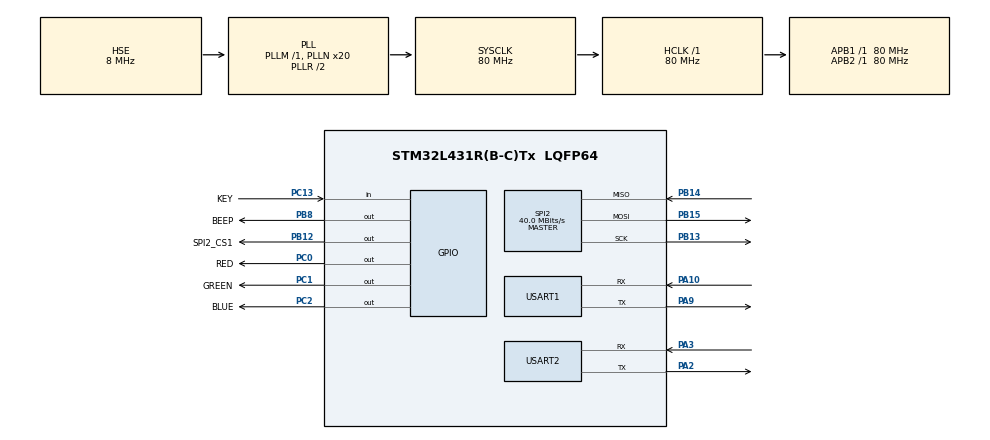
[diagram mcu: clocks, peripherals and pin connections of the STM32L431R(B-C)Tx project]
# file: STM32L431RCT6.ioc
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Mcu.Family=STM32L4
Mcu.Name=STM32L431R(B-C)Tx
Mcu.Package=LQFP64
NVIC.PriorityGroup=NVIC_PRIORITYGROUP_4
PA10.Mode=Asynchronous
PA10.Signal=USART1_RX
PA13\ (JTMS-SWDIO).Mode=Serial_Wire
PA13\ (JTMS-SWDIO).Signal=SYS_JTMS-SWDIO
PA14\ (JTCK-SWCLK).Mode=Serial_Wire
PA14\ (JTCK-SWCLK).Signal=SYS_JTCK-SWCLK
PA2.Mode=Asynchronous
PA2.Signal=USART2_TX
PA3.Mode=Asynchronous
PA3.Signal=USART2_RX
PA9.Mode=Asynchronous
PA9.Signal=USART1_TX
PB12.GPIO_Label=SPI2_CS1
PB12.GPIO_PuPd=GPIO_PULLUP
PB12.GPIO_Speed=GPIO_SPEED_FREQ_VERY_HIGH
PB12.PinState=GPIO_PIN_SET
PB12.Signal=GPIO_Output
PB13.Mode=Full_Duplex_Master
PB13.Signal=SPI2_SCK
PB14.Mode=Full_Duplex_Master
PB14.Signal=SPI2_MISO
PB15.Mode=Full_Duplex_Master
PB15.Signal=SPI2_MOSI
PB8.GPIO_Label=BEEP
PB8.Signal=GPIO_Output
PC0.GPIO_Label=RED
PC0.GPIO_PuPd=GPIO_PULLUP
PC0.PinState=GPIO_PIN_SET
PC0.Signal=GPIO_Output
PC1.GPIO_Label=GREEN
PC1.GPIO_PuPd=GPIO_PULLUP
PC1.PinState=GPIO_PIN_SET
PC1.Signal=GPIO_Output
PC13.GPIO_Label=KEY
PC13.GPIO_Mode=GPIO_MODE_INPUT
PC13.GPIO_PuPd=GPIO_PULLUP
PC13.Signal=GPIO_Input
PC2.GPIO_Label=BLUE
PC2.GPIO_PuPd=GPIO_PULLUP
PC2.PinState=GPIO_PIN_SET
PC2.Signal=GPIO_Output
PH0-OSC_IN\ (PH0).Mode=HSE-External-Oscillator
PH0-OSC_IN\ (PH0).Signal=RCC_OSC_IN
PH1-OSC_OUT\ (PH1).Mode=HSE-External-Oscillator
PH1-OSC_OUT\ (PH1).Signal=RCC_OSC_OUT
ProjectManager.HeapSize=0x200
ProjectManager.StackSize=0x400
ProjectManager.TargetToolchain=MDK-ARM V5.27
RCC.ADCFreq_Value=32000000
RCC.AHBFreq_Value=80000000
RCC.APB1Freq_Value=80000000
RCC.APB1TimFreq_Value=80000000
RCC.APB2Freq_Value=80000000
RCC.APB2TimFreq_Value=80000000
RCC.CortexFreq_Value=80000000
RCC.HCLKFreq_Value=80000000
RCC.HSE_VALUE=8000000
RCC.HSI48_VALUE=48000000
RCC.HSI_VALUE=16000000
RCC.LSE_VALUE=32768
RCC.MSI_VALUE=4000000
RCC.PLLN=20
RCC.PLLSourceVirtual=RCC_PLLSOURCE_HSE
RCC.SYSCLKFreq_VALUE=80000000
RCC.SYSCLKSource=RCC_SYSCLKSOURCE_PLLCLK
RCC.VCOOutputFreq_Value=160000000
SPI2.CalculateBaudRate=40.0 MBits/s
SPI2.DataSize=SPI_DATASIZE_8BIT
SPI2.Direction=SPI_DIRECTION_2LINES
SPI2.Mode=SPI_MODE_MASTER
SPI2.VirtualType=VM_MASTER
USART1.VirtualMode-Asynchronous=VM_ASYNC
USART2.VirtualMode-Asynchronous=VM_ASYNC
board=custom

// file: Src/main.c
/* USER CODE BEGIN Header */
/**
  ******************************************************************************

    PB13     ------> SPI2_SCK
    PB14     ------> SPI2_MISO
    PB15     ------> SPI2_MOSI
    pb12     ------> CS
  ******************************************************************************
  */
/* USER CODE END Header */
#include "main.h"
#include "spi.h"
#include "usart.h"
#include "gpio.h"

/* USER CODE BEGIN Includes */
#include "BSP_GPIO.h"
#include "BSP_USART.h"
#include "stdio.h"
#include "BSP_spi.h"
#include "w25qxx.h"
#include "CCS811.h"

/* USER CODE END Includes */

void SystemClock_Config(void);

/* USER CODE BEGIN 0 */
void _sys_exit(int x)
{
	x = x;
}
//重定义fputc函数
int ffputc(int ch, FILE *f)
{
	while((USART1->ISR&0X40)==0);//循环发送,直到发送完毕
    USART1->RDR = (u8) ch;
	return ch;
}
/* USER CODE END 0 */

int main(void)
{
  /* USER CODE BEGIN 1 */
  float K_Temperature ; //K型热电偶 温度值

  /* USER CODE END 1 */

  /* MCU Configuration--------------------------------------------------------*/

  /* Reset of all peripherals, Initializes the Flash interface and the Systick. */
  HAL_Init();

  /* USER CODE BEGIN Init */
 MAX6675_Init();

  /* USER CODE END Init */

  /* Configure the system clock */
  SystemClock_Config();

  /* USER CODE BEGIN SysInit */

	HAL_Delay(1000);

  readHW_ID();
//  printf("id:%d\r\n",CCS.hw_id);
  readStatus();
//  printf("sta0:%d\r\n",CCS.status);
  app_Start();
  readStatus();
//  printf("sta1:%d\r\n",CCS.status);
  setMode(0x10);

  /* USER CODE END SysInit */

  /* Initialize all configured peripherals */
  MX_GPIO_Init();
  MX_SPI2_Init();
  MX_USART1_UART_Init();
  MX_USART2_UART_Init();
  /* USER CODE BEGIN 2 */
	__HAL_SPI_ENABLE(&hspi2);

	//串口屏数据初始化
		printf("t4.txt=\"0\"");//向串口屏发送指令，字符串类型
		printf("\xff\xff\xff");//发送结束符0xff、0xff、0xff
		printf("t8.txt=\"0\"");//向串口屏发送指令，字符串类型
		printf("\xff\xff\xff");//发送结束符0xff、0xff、0xff
		printf("t10.txt=\"致癌物指标正常\"");//向串口屏发送指令，字符串类型
		printf("\xff\xff\xff");//发送结束符0xff、0xff、0xff
		printf("t10.pco=BLACK");//向串口屏发送指令，字符串类型
		printf("\xff\xff\xff");//发送结束符0xff、0xff、0xff

		HAL_UART_Transmit(&huart2, "The VOCs are low*",40, 1000);
  /* USER CODE END 2 */

  /* Infinite loop */
  /* USER CODE BEGIN WHILE */
  while (1)
  {

		if(MAX6675_ReadTemperature()<1000)
		K_Temperature = MAX6675_ReadTemperature();  //读取热电偶温度值
//		printf("Temperature:%f\r\n",K_Temperature);
		printf("t1.txt=\"%4.2f\"",K_Temperature);
		printf("\xff\xff\xff");//发送结束符0xff、0xff、0xff

	  getData();
//	  printf("eco2:%d\t",CCS.eco2);
//	  printf("tvoc:%d\r\n",CCS.tvoc);
		printf("t4.txt=\"%d\"",CCS.eco2);//向串口屏发送指令，字符串类型
		printf("\xff\xff\xff");//发送结束符0xff、0xff、0xff
		printf("t8.txt=\"%d\"",CCS.tvoc);//向串口屏发送指令，字符串类型
		printf("\xff\xff\xff");//发送结束符0xff、0xff、0xff
	  readStatus();
//	  printf("sta:%d\r\n",CCS.status);

	if(CCS.tvoc>50)//tvoc的浓度值高于50时
	{
		HAL_GPIO_WritePin(GPIOB,GPIO_PIN_8,GPIO_PIN_SET);//蜂鸣器发出警报
		HAL_UART_Transmit(&huart2, "The VOCs are off the charts*",40, 1000);//物联网模块同时发出警报信息
		printf("t10.txt=\"致癌物超标！！！\"");//串口屏显示警报信息
		printf("\xff\xff\xff");//发送结束符0xff、0xff、0xff
		printf("t10.pco=RED");//向串口屏发送指令，字符串类型
		printf("\xff\xff\xff");//发送结束符0xff、0xff、0xff
	}
	else  HAL_GPIO_WritePin(GPIOB,GPIO_PIN_8,GPIO_PIN_RESET);

	HAL_Delay(1000);
    /* USER CODE END WHILE */

  }
}

void SystemClock_Config(void)
{
  RCC_OscInitTypeDef RCC_OscInitStruct = {0};
  RCC_ClkInitTypeDef RCC_ClkInitStruct = {0};

  /** Configure the main internal regulator output voltage
  */
  if (HAL_PWREx_ControlVoltageScaling(PWR_REGULATOR_VOLTAGE_SCALE1) != HAL_OK)
  {
    Error_Handler();
  }

  /** Initializes the RCC Oscillators according to the specified parameters
  * in the RCC_OscInitTypeDef structure.
  */
  RCC_OscInitStruct.OscillatorType = RCC_OSCILLATORTYPE_HSE;
  RCC_OscInitStruct.HSEState = RCC_HSE_ON;
  RCC_OscInitStruct.PLL.PLLState = RCC_PLL_ON;
  RCC_OscInitStruct.PLL.PLLSource = RCC_PLLSOURCE_HSE;
  RCC_OscInitStruct.PLL.PLLM = 1;
  RCC_OscInitStruct.PLL.PLLN = 20;
  RCC_OscInitStruct.PLL.PLLP = RCC_PLLP_DIV7;
  RCC_OscInitStruct.PLL.PLLQ = RCC_PLLQ_DIV2;
  RCC_OscInitStruct.PLL.PLLR = RCC_PLLR_DIV2;
  if (HAL_RCC_OscConfig(&RCC_OscInitStruct) != HAL_OK)
  {
    Error_Handler();
  }

  /** Initializes the CPU, AHB and APB buses clocks
  */
  RCC_ClkInitStruct.ClockType = RCC_CLOCKTYPE_HCLK|RCC_CLOCKTYPE_SYSCLK
                              |RCC_CLOCKTYPE_PCLK1|RCC_CLOCKTYPE_PCLK2;
  RCC_ClkInitStruct.SYSCLKSource = RCC_SYSCLKSOURCE_PLLCLK;
  RCC_ClkInitStruct.AHBCLKDivider = RCC_SYSCLK_DIV1;
  RCC_ClkInitStruct.APB1CLKDivider = RCC_HCLK_DIV1;
  RCC_ClkInitStruct.APB2CLKDivider = RCC_HCLK_DIV1;

  if (HAL_RCC_ClockConfig(&RCC_ClkInitStruct, FLASH_LATENCY_4) != HAL_OK)
  {
    Error_Handler();
  }
}

void Error_Handler(void)
{
}
